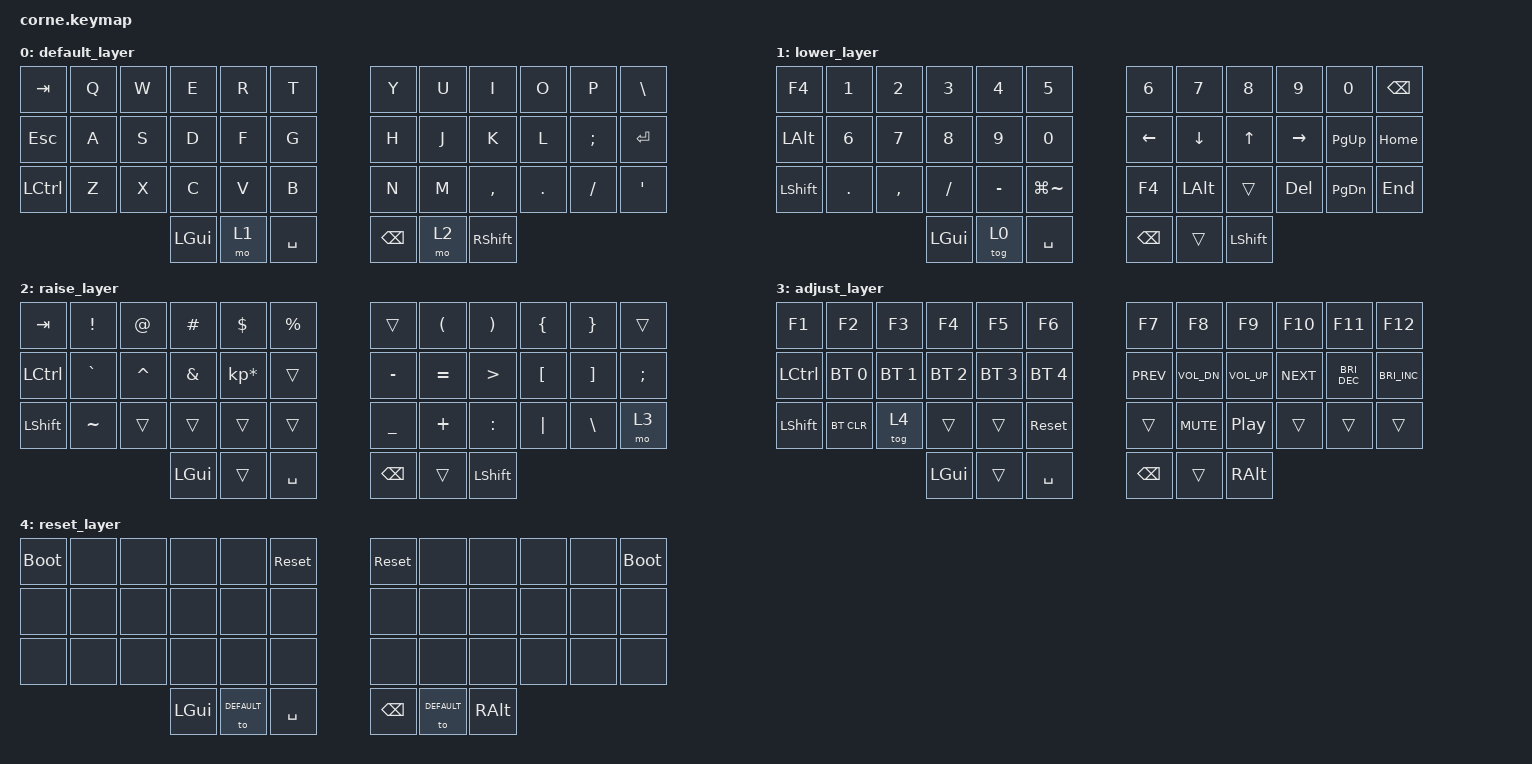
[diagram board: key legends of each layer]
/*
 * Copyright (c) 2020 The ZMK Contributors
 *
 * SPDX-License-Identifier: MIT
 */

#include <behaviors.dtsi>
#include <dt-bindings/zmk/bt.h>
#include <dt-bindings/zmk/keys.h>

// Layer definitions

#define DEFAULT 0
#define LOWER   1
#define RAISE   2
#define ADJUST  3

/ {
    conditional_layers {
        compatible = "zmk,conditional-layers";

        tri_layer {
            if-layers = <LOWER RAISE>;
            then-layer = <ADJUST>;
        };
    };
};

/ {
    keymap {
        compatible = "zmk,keymap";

        default_layer {
            // -----------------------------------------------------------------------------------------
            // |  TAB |  Q  |  W  |  E  |  R  |  T  |   |  Y  |  U   |  I  |  O  |  P  | BKSP |
            // | CTRL |  A  |  S  |  D  |  F  |  G  |   |  H  |  J   |  K  |  L  |  ;  |  '   |
            // | SHFT |  Z  |  X  |  C  |  V  |  B  |   |  N  |  M   |  ,  |  .  |  /  | ESC  |
            //                    | GUI | LWR | SPC |   | ENT | RSE  | ALT |

            bindings = <
&kp TAB           &kp Q  &kp W  &kp E     &kp R  &kp T        &kp Y          &kp U  &kp I            &kp O    &kp P     &kp BACKSLASH
&kp ESCAPE        &kp A  &kp S  &kp D     &kp F  &kp G        &kp H          &kp J  &kp K            &kp L    &kp SEMI  &kp RET
&kp LEFT_CONTROL  &kp Z  &kp X  &kp C     &kp V  &kp B        &kp N          &kp M  &kp COMMA        &kp DOT  &kp FSLH  &kp SINGLE_QUOTE
                                &kp LGUI  &mo 1  &kp SPACE    &kp BACKSPACE  &mo 2  &kp RIGHT_SHIFT
            >;
        };

        lower_layer {
            // -----------------------------------------------------------------------------------------
            // |  TAB |  1  |  2  |  3  |  4  |  5  |   |  6  |  7  |  8  |  9  |   0   | BKSP |
            // |      |     |     |     |     |     |   | LFT | DWN |  UP | RGT | PG_UP | HOME |
            // | SHFT |     |     |     |     |     |   |     |     |     | DEL | PG_DN |  END |
            //                    | GUI |     | SPC |   | ENT |     | ALT |

            bindings = <
&kp F4        &kp N1        &kp N2     &kp N3        &kp N4     &kp N5           &kp N6         &kp N7        &kp N8          &kp N9     &kp N0     &kp BSPC
&kp LEFT_ALT  &kp NUMBER_6  &kp N7     &kp N8        &kp N9     &kp N0           &kp LEFT       &kp DOWN      &kp UP          &kp RIGHT  &kp PG_UP  &kp HOME
&kp LSHFT     &kp PERIOD    &kp COMMA  &kp SLASH     &kp MINUS  &kp LG(TILDE)    &kp F4         &kp LEFT_ALT  &trans          &kp DEL    &kp PG_DN  &kp END
                                       &kp LEFT_GUI  &tog 0     &kp SPACE        &kp BACKSPACE  &trans        &kp LEFT_SHIFT
            >;
        };

        raise_layer {
            // -----------------------------------------------------------------------------------------
            // |  TAB |  !  |  @  |  #  |  $  |  %  |   |  ^  |  &  |  *  |  (  |  )  | BKSP |
            // | CTRL |     |     |     |     |     |   |  -  |  =  |  [  |  ]  |  \  |  `   |
            // | SHFT |     |     |     |     |     |   |  _  |  +  |  {  |  }  | "|" |  ~   |
            //                    | GUI |     | SPC |   | ENT |     | ALT |

            bindings = <
&kp TAB    &kp EXCL   &kp AT     &kp HASH  &kp DLLR         &kp PRCNT    &trans         &kp LEFT_PARENTHESIS  &kp RIGHT_PARENTHESIS  &kp LEFT_BRACE    &kp RIGHT_BRACE    &trans
&kp LCTRL  &kp GRAVE  &kp CARET  &kp AMPS  &kp KP_ASTERISK  &trans       &kp MINUS      &kp EQUAL             &kp GREATER_THAN       &kp LEFT_BRACKET  &kp RIGHT_BRACKET  &kp SEMI
&kp LSHFT  &kp TILDE  &trans     &trans    &trans           &trans       &kp UNDER      &kp PLUS              &kp COLON              &kp PIPE          &kp BACKSLASH      &mo 3
                                 &kp LGUI  &trans           &kp SPACE    &kp BACKSPACE  &trans                &kp LEFT_SHIFT
            >;
        };

        adjust_layer {
            // -----------------------------------------------------------------------------------------
            // |  F1  |   F2   | F3  | F4  | F5  | F6  |   | F7  |   F8   |   F9   | F10 | F11 |  F12 |
            // | CTRL |   BT1  | BT2 | BT3 | BT4 | BT5 |   | PRV | VOL_DN | VOL_UP | NXT |     |      |
            // | SHFT | BT_CLR | RST |     |     |     |   |     |  MUTE  |        |     |     |      |
            //                       | GUI |     | SPC |   | ENT |     | ALT |

            bindings = <
&kp F1     &kp F2        &kp F3        &kp F4        &kp F5        &kp F6          &kp F7         &kp F8        &kp F9            &kp F10     &kp F11               &kp F12
&kp LCTRL  &bt BT_SEL 0  &bt BT_SEL 1  &bt BT_SEL 2  &bt BT_SEL 3  &bt BT_SEL 4    &kp C_PREV     &kp C_VOL_DN  &kp C_VOL_UP      &kp C_NEXT  &kp C_BRIGHTNESS_DEC  &kp C_BRIGHTNESS_INC
&kp LSHFT  &bt BT_CLR    &tog 4        &trans        &trans        &sys_reset      &trans         &kp C_MUTE    &kp C_PLAY_PAUSE  &trans      &trans                &trans
                                       &kp LGUI      &trans        &kp SPACE       &kp BACKSPACE  &trans        &kp RALT
            >;
        };

        reset_layer {
            // -----------------------------------------------------------------------------------------
            // | BTLDR |    |    |    |    | RESET |      | RESET |    |    |    |    | BTLDR |
            // |       |    |    |    |    |       |      |       |    |    |    |    |       |
            // |       |    |    |    |    |       |      |       |    |    |    |    |       |
            // |       |    |    |    |    |       |      |       |    |    |    |    |       |
            //                    | GUI | BASE | SPC |   | ENT | BASE | ALT |

            bindings = <
&bootloader  &none  &none  &none     &none        &sys_reset    &sys_reset     &none        &none     &none  &none  &bootloader
&none        &none  &none  &none     &none        &none         &none          &none        &none     &none  &none  &none
&none        &none  &none  &none     &none        &none         &none          &none        &none     &none  &none  &none
                           &kp LGUI  &to DEFAULT  &kp SPACE     &kp BACKSPACE  &to DEFAULT  &kp RALT
            >;
        };
    };
};
